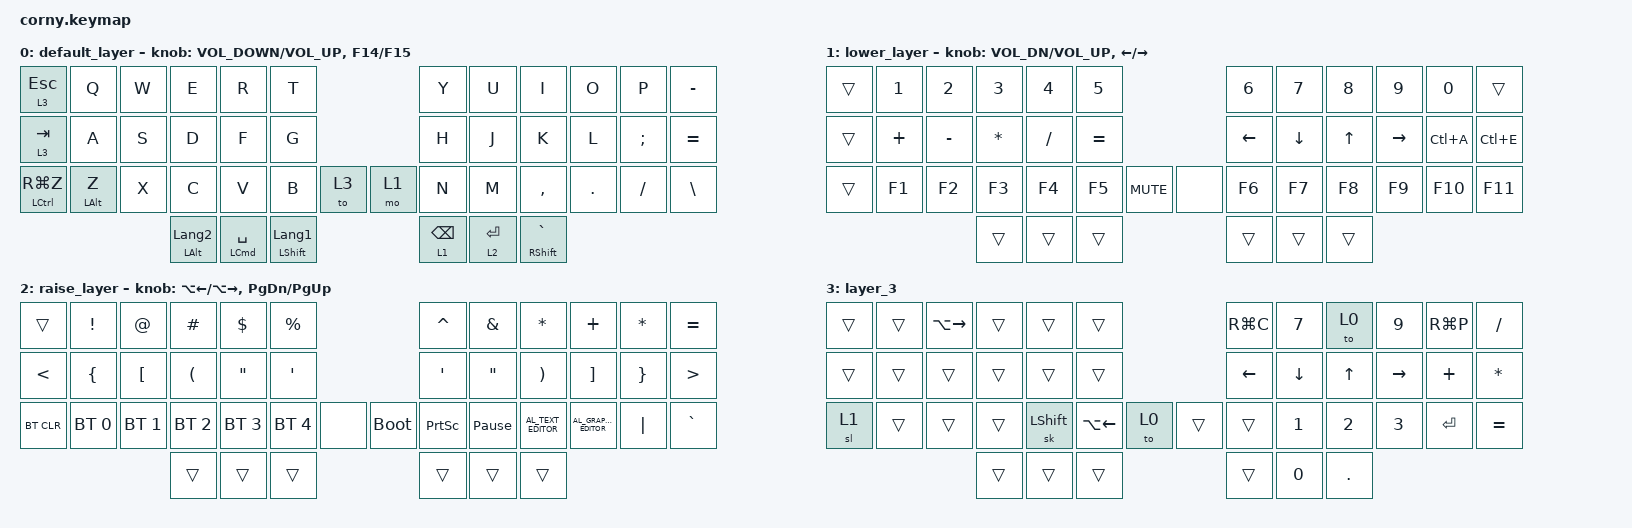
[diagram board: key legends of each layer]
#include <behaviors.dtsi>
#include <dt-bindings/zmk/bt.h>
#include <dt-bindings/zmk/keys.h>

&mt { flavor = "tap-preferred"; };

/ {
    combos {
        compatible = "zmk,combos";

        eisuu {
            bindings = <&kp LANGUAGE_2>;
            key-positions = <15 16>;
        };

        pa {
            bindings = <&pa>;
            key-positions = <36 37>;
        };

        login {
            bindings = <&login>;
            key-positions = <22 23>;
        };

        kana {
            bindings = <&kp LANGUAGE_1>;
            key-positions = <20 19>;
        };

        mail {
            bindings = <&mail>;
            key-positions = <10 11>;
        };

        to-tenkey {
            bindings = <&tog 3>;
            key-positions = <38 39 40>;
        };
    };

    macros {
        pa: pa {
            compatible = "zmk,behavior-macro";
            #binding-cells = <0>;
            bindings = <&kp P &kp A &kp S &kp W &kp A &kp R &kp D>;
            label = "PA";
        };

        login: login {
            compatible = "zmk,behavior-macro";
            #binding-cells = <0>;
            bindings = <&kp L &kp O &kp G &kp I &kp N &kp I &kp D>;
            label = "LOGIN";
        };

        mail: mail {
            compatible = "zmk,behavior-macro";
            #binding-cells = <0>;
            bindings = <&kp M &kp A &kp I &kp L &kp AT &kp M &kp A &kp I &kp L &kp DOT &kp J &kp P>;
            label = "MAIL";
        };
    };

    keymap {
        compatible = "zmk,keymap";

        default_layer {
            // -------------------------------------------------------------------------------------------------
            // |  TAB |  Q  |  W  |  E  |  R  |  T  |                    |  Y  |  U   |  I  |  O  |  P  | BKSP |
            // | CTRL |  A  |  S  |  D  |  F  |  G  |                    |  H  |  J   |  K  |  L  |  ;  |  '   |
            // | SHFT |  Z  |  X  |  C  |  V  |  B  |  MUTE  |  |        |  N  |  M   |  ,  |  .  |  /  | ESC  |
            //                    | GUI | LWR | SPC |                    | ENT | RSE  | ALT |

            bindings = <
&lt 3 ESCAPE     &kp Q           &kp W  &kp E                    &kp R                   &kp T                                    &kp Y            &kp U        &kp I                  &kp O    &kp P     &kp MINUS
&lt 3 TAB        &kp A           &kp S  &kp D                    &kp F                   &kp G                                    &kp H            &kp J        &kp K                  &kp L    &kp SEMI  &kp EQUAL
&mt LCTRL RG(Z)  &mt LEFT_ALT Z  &kp X  &kp C                    &kp V                   &kp B                      &to 3  &mo 1  &kp N            &kp M        &kp COMMA              &kp DOT  &kp FSLH  &kp BACKSLASH
                                        &mt LEFT_ALT LANGUAGE_2  &mt LEFT_COMMAND SPACE  &mt LEFT_SHIFT LANGUAGE_1                &lt 1 BACKSPACE  &lt 2 ENTER  &mt RIGHT_SHIFT GRAVE
            >;

            sensor-bindings =
                <&inc_dec_kp C_VOLUME_DOWN C_VOLUME_UP>,
                <&inc_dec_kp F14 F15>;
        };

        lower_layer {
            // ------------------------------------------------------------------------------------------------
            // |  TAB |  1  |  2  |  3  |  4  |  5  |                    |  6  |  7  |  8  |  9  |  0  | BKSP |
            // | BTCLR| BT1 | BT2 | BT3 | BT4 | BT5 |                    | LFT | DWN |  UP | RGT |     |  F12 |
            // | SHFT | F1  | F2  | F3  | F4  | F5  |  boot  |  |        |  F6 | F7  | F8  | F9  | F10 |  F11 |
            //                    | GUI |     | SPC |                    | ENT |     | ALT |

            bindings = <
&trans  &kp N1    &kp N2     &kp N3        &kp N4     &kp N5                        &kp N6          &kp N7          &kp N8        &kp N9           &kp N0     &trans
&trans  &kp PLUS  &kp MINUS  &kp ASTERISK  &kp SLASH  &kp EQUAL                     &kp LEFT_ARROW  &kp DOWN_ARROW  &kp UP_ARROW  &kp RIGHT_ARROW  &kp LC(A)  &kp LC(E)
&trans  &kp F1    &kp F2     &kp F3        &kp F4     &kp F5     &kp K_MUTE  &none  &kp F6          &kp F7          &kp F8        &kp F9           &kp F10    &kp F11
                             &trans        &trans     &trans                        &trans          &trans          &trans
            >;

            sensor-bindings =
                <&inc_dec_kp C_VOL_DN C_VOL_UP>,
                <&inc_dec_kp LEFT_ARROW RIGHT_ARROW>;
        };

        raise_layer {
            // ------------------------------------------------------------------------------------------------
            // |  TAB |  !  |  @  |  #  |  $  |  %  |                    |  ^  |  &  |  *  |  (  |  )  | BKSP |
            // | CTRL |     |     |     |     |     |                    |  -  |  =  |  [  |  ]  |  \  |  `   |
            // | SHFT |     |     |     |     |     |        |  |  boot  |  _  |  +  |  {  |  }  | "|" |  ~   |
            //                    | GUI |     | SPC |                    | ENT |     | ALT |

            bindings = <
&trans         &kp EXCL        &kp AT            &kp HASH              &kp DLLR           &kp PRCNT                         &kp CARET        &kp AMPS           &kp ASTERISK           &kp PLUS                  &kp ASTERISK     &kp EQUAL
&kp LESS_THAN  &kp LEFT_BRACE  &kp LEFT_BRACKET  &kp LEFT_PARENTHESIS  &kp DOUBLE_QUOTES  &kp SQT                           &kp SQT          &kp DOUBLE_QUOTES  &kp RIGHT_PARENTHESIS  &kp RIGHT_BRACKET         &kp RIGHT_BRACE  &kp GREATER_THAN
&bt BT_CLR     &bt BT_SEL 0    &bt BT_SEL 1      &bt BT_SEL 2          &bt BT_SEL 3       &bt BT_SEL 4  &none  &bootloader  &kp PRINTSCREEN  &kp PAUSE_BREAK    &kp C_AL_TEXT_EDITOR   &kp C_AL_GRAPHICS_EDITOR  &kp PIPE         &kp GRAVE
                                                 &trans                &trans             &trans                            &trans           &trans             &trans
            >;

            sensor-bindings =
                <&inc_dec_kp LA(LEFT_ARROW) LA(RIGHT_ARROW)>,
                <&inc_dec_kp PAGE_DOWN PAGE_UP>;
        };

        layer_3 {
            bindings = <
&trans  &trans  &kp LA(RIGHT_ARROW)  &trans  &trans          &trans                             &kp RG(C)       &kp N7          &to 0         &kp N9           &kp RG(P)  &kp SLASH
&trans  &trans  &trans               &trans  &trans          &trans                             &kp LEFT_ARROW  &kp DOWN_ARROW  &kp UP_ARROW  &kp RIGHT_ARROW  &kp PLUS   &kp ASTERISK
&sl 1   &trans  &trans               &trans  &sk LEFT_SHIFT  &kp LA(LEFT_ARROW)  &to 0  &trans  &trans          &kp N1          &kp N2        &kp N3           &kp ENTER  &kp EQUAL
                                     &trans  &trans          &trans                             &trans          &kp N0          &kp DOT
            >;
        };
    };
};
